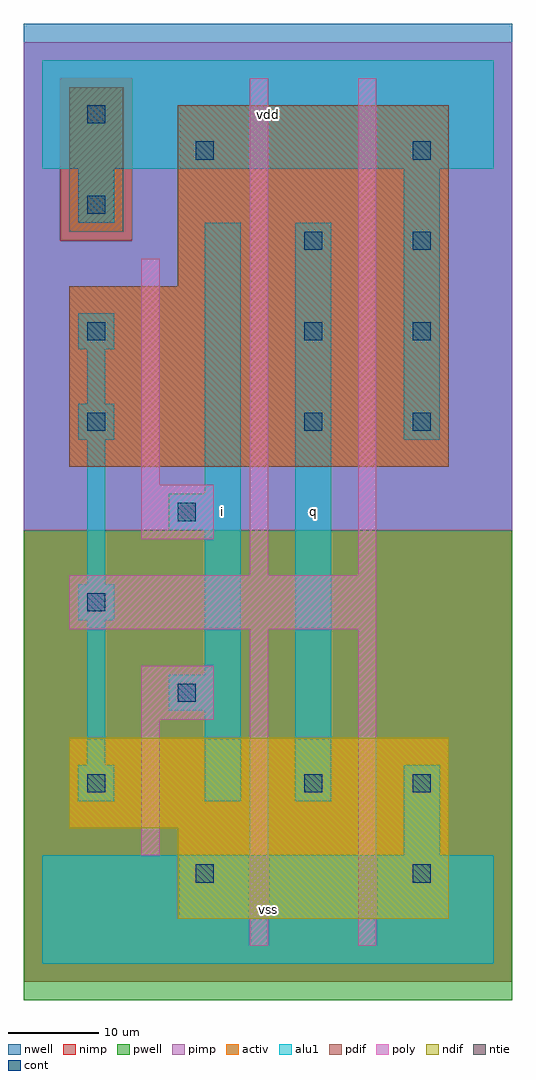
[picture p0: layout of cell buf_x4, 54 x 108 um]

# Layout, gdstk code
import gdstk
lib = gdstk.Library(unit=1e-6, precision=1e-09)
def R(c, l, rs):  # rectangles x0, y0, x1, y1
    for r in rs: c.add(gdstk.rectangle(r[:2], r[2:], *l))
def A(c, l, x, y, w, h, nx, ny, dx, dy):  # array of equal rectangles
    R(c, l, [(x+i*dx, y+j*dy, x+i*dx+w, y+j*dy+h) for i in range(nx) for j in range(ny)])
ndif = (3, 0)
pdif = (4, 0)
ntie = (5, 0)
cont = (25, 0)
pwell = (41, 0)
nwell = (42, 0)
activ = (43, 0)
pimp = (44, 0)
nimp = (45, 0)
poly = (46, 0)
alu1 = (49, 0)

buf_x4 = lib.new_cell('buf_x4')
R(buf_x4, ndif, [(15,5,45,15), (3,15,45,25)])
R(buf_x4, pdif, [(3,55,45,75), (15,75,45,95)])
R(buf_x4, ntie, [(3,81,9,97)])
A(buf_x4, cont, 5, 19, 2, 2, 1, 3, 0, 20)
A(buf_x4, cont, 29, 59, 2, 2, 1, 3, 0, 10)
A(buf_x4, cont, 41, 59, 2, 2, 1, 4, 0, 10)
R(buf_x4, cont, [(17,9,19,11), (41,9,43,11), (29,19,31,21), (41,19,43,21), (15,29,17,31), (15,49,17,51), (5,69,7,71), (5,83,7,85), (17,89,19,91), (5,93,7,95)])
R(buf_x4, pwell, [(-2,-4,52,48)])
R(buf_x4, nwell, [(-2,48,52,104)])
R(buf_x4, activ, [(15,5,45,15), (3,15,45,25), (3,55,45,75), (15,75,45,95), (3,81,9,97)])
R(buf_x4, pimp, [(-2,48,52,80), (-2,80,2,98), (10,80,52,98), (-2,98,52,102)])
R(buf_x4, nimp, [(-2,-2,52,48), (2,80,10,98)])
R(buf_x4, poly, [(23,2,25,37), (35,2,37,37), (11,12,13,27), (11,27,19,33), (3,37,37,43), (23,43,25,98), (35,43,37,98), (11,47,19,53), (11,53,13,78)])
A(buf_x4, alu1, 4, 18, 4, 4, 1, 3, 0, 20)
R(buf_x4, alu1, [(0,0,50,12), (40,12,44,22), (18,18,22,28), (28,18,32,82), (5,22,7,38), (14,28,22,32), (18,32,22,48), (5,42,7,58), (14,48,22,52), (18,52,22,82), (40,58,44,88), (5,62,7,68), (4,68,8,72), (4,82,8,88), (0,88,50,100)])
buf_x4.add(gdstk.Label('i', (20,50), layer=49, texttype=0))
buf_x4.add(gdstk.Label('vss', (25,6), layer=49, texttype=0))
buf_x4.add(gdstk.Label('q', (30,50), layer=49, texttype=0))
buf_x4.add(gdstk.Label('vdd', (25,94), layer=49, texttype=0))

lib.write_gds('buf_x4.gds')
